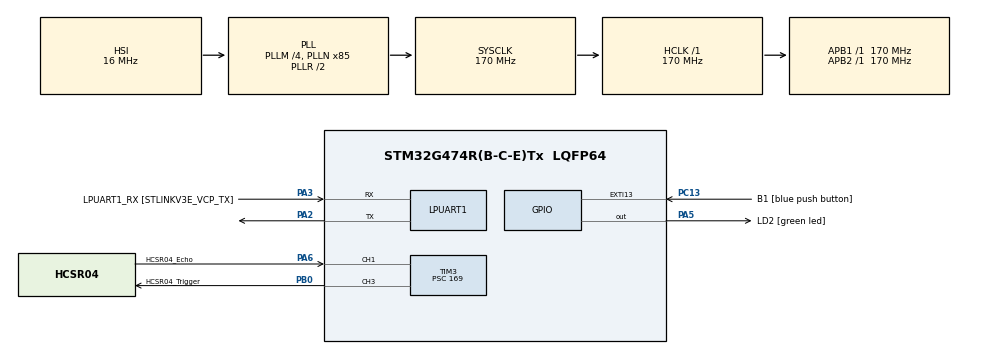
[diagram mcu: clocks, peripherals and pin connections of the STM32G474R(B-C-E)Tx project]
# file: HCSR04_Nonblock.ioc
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Mcu.Family=STM32G4
Mcu.Name=STM32G474R(B-C-E)Tx
Mcu.Package=LQFP64
NVIC.EXTI15_10_IRQn=true\:0\:0\:false\:false\:true\:true\:true\:true
NVIC.PriorityGroup=NVIC_PRIORITYGROUP_4
NVIC.TIM3_IRQn=true\:0\:0\:false\:false\:true\:true\:true\:true
PA13.GPIO_Label=T_SWDIO
PA13.Mode=Serial_Wire
PA13.Signal=SYS_JTMS-SWDIO
PA14.GPIO_Label=T_SWCLK
PA14.Mode=Serial_Wire
PA14.Signal=SYS_JTCK-SWCLK
PA2.Mode=Asynchronous
PA2.Signal=LPUART1_TX
PA3.GPIO_Label=LPUART1_RX [STLINKV3E_VCP_TX]
PA3.Mode=Asynchronous
PA3.Signal=LPUART1_RX
PA5.GPIO_Label=LD2 [green led]
PA5.Signal=GPIO_Output
PA6.GPIO_Label=HCSR04_Echo
PA6.Signal=S_TIM3_CH1
PB0.GPIO_Label=HCSR04_Trigger
PB0.Signal=S_TIM3_CH3
PB3.GPIO_Label=T_SWO
PB3.Signal=SYS_JTDO-SWO
PC13.GPIO_Label=B1 [blue push button]
PC13.Signal=GPXTI13
PC14-OSC32_IN.Mode=LSE-External-Oscillator
PC14-OSC32_IN.Signal=RCC_OSC32_IN
PC15-OSC32_OUT.GPIO_Label=RCC_OSC32_OUT
PC15-OSC32_OUT.Mode=LSE-External-Oscillator
PC15-OSC32_OUT.Signal=RCC_OSC32_OUT
PF0-OSC_IN.GPIO_Label=RCC_OSC_IN
PF0-OSC_IN.Mode=HSE-External-Oscillator
PF0-OSC_IN.Signal=RCC_OSC_IN
PF1-OSC_OUT.GPIO_Label=RCC_OSC_OUT
PF1-OSC_OUT.Mode=HSE-External-Oscillator
PF1-OSC_OUT.Signal=RCC_OSC_OUT
ProjectManager.HeapSize=0x200
ProjectManager.StackSize=0x400
ProjectManager.TargetToolchain=STM32CubeIDE
RCC.ADC12Freq_Value=170000000
RCC.ADC345Freq_Value=170000000
RCC.AHBFreq_Value=170000000
RCC.APB1Freq_Value=170000000
RCC.APB1TimFreq_Value=170000000
RCC.APB2Freq_Value=170000000
RCC.APB2TimFreq_Value=170000000
RCC.CortexFreq_Value=170000000
RCC.EXTERNAL_CLOCK_VALUE=12288000
RCC.HCLKFreq_Value=170000000
RCC.HSE_VALUE=24000000
RCC.HSI48_VALUE=48000000
RCC.HSI_VALUE=16000000
RCC.PLLM=RCC_PLLM_DIV4
RCC.PLLN=85
RCC.RTCClockSelection=RCC_RTCCLKSOURCE_LSE
RCC.SYSCLKFreq_VALUE=170000000
RCC.SYSCLKSource=RCC_SYSCLKSOURCE_PLLCLK
RCC.USBFreq_Value=170000000
RCC.VCOOutputFreq_Value=340000000
SH.S_TIM3_CH1.0=TIM3_CH1,Input_Capture1_from_TI1
SH.S_TIM3_CH3.0=TIM3_CH3,PWM Generation3 CH3
TIM3.Channel-Input_Capture1_from_TI1=TIM_CHANNEL_1
TIM3.Channel-Input_Capture2_from_TI1_63=TIM_CHANNEL_2
TIM3.Channel-PWM\ Generation3\ CH3=TIM_CHANNEL_3
TIM3.ICPolarity_CH2=TIM_INPUTCHANNELPOLARITY_FALLING
TIM3.Prescaler=169
TIM3.PulseNoDither_3=11
VP_SYS_VS_DBSignals.Mode=DisableDeadBatterySignals
VP_TIM3_VS_indirect_ch1.Mode=Input_Capture2_from_TI1_63
board=NUCLEO-G474RE

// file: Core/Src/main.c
/* USER CODE BEGIN Header */
/**
  ******************************************************************************
  * @file           : main.c
  * @brief          : Main program body
  ******************************************************************************
  * @attention
  *
  * Copyright (c) 2026 STMicroelectronics.
  * All rights reserved.
  *
  * This software is licensed under terms that can be found in the LICENSE file
  * in the root directory of this software component.
  * If no LICENSE file comes with this software, it is provided AS-IS.
  *
  ******************************************************************************
  */
/* USER CODE END Header */
#include "main.h"
#include "usart.h"
#include "tim.h"
#include "gpio.h"

/* USER CODE BEGIN Includes */

// HC-SR04 ultrasonic sensor driver
#include "hcsr04.h"

/* USER CODE END Includes */

/* USER CODE BEGIN PD */

/*
 * Definitions of timers and channels used for the HC-SR04 sensor
 *
 * The same timer (TIM3) is used for:
 * - generating the TRIGGER pulse
 * - measuring the ECHO pulse duration
 */

#define HCSR04_TRIGGER_TIMER		htim3
#define HCSR04_ECHO_TIMER			htim3
#define HCSR04_TRIGGER_CHANNEL		TIM_CHANNEL_3
#define HCSR04_ECHO_START_CHANNEL 	TIM_CHANNEL_1
#define HCSR04_ECHO_STOP_CHANNEL 	TIM_CHANNEL_2
/* USER CODE END PD */

/* USER CODE BEGIN PV */

/*
 * Structure storing HC-SR04 configuration
 */
HCSR04_t HCSR04;

/*
 * Variable storing measured distance in centimeters (float)
 */
float Distance_f;

/*
 * Variable storing measured distance in centimeters (integer)
 */
uint16_t Distance_u16;
/* USER CODE END PV */

void SystemClock_Config(void);

int main(void)
{

  /* MCU Configuration--------------------------------------------------------*/

  /* Reset of all peripherals, Initializes the Flash interface and the Systick. */
  HAL_Init();

  /* Configure the system clock */
  SystemClock_Config();

  /* Initialize all configured peripherals */
  MX_GPIO_Init();
  MX_LPUART1_UART_Init();
  MX_TIM3_Init();
  /* USER CODE BEGIN 2 */

  /*
   * Initialize HC-SR04 sensor
   * Parameters:
   * - pointer to sensor structure
   * - trigger timer
   * - echo timer
   * - trigger channel
   * - echo start channel
   * - echo stop channel
   */
  HCSR04_Init(&HCSR04, &HCSR04_TRIGGER_TIMER, HCSR04_TRIGGER_CHANNEL,
              &HCSR04_ECHO_TIMER, HCSR04_ECHO_START_CHANNEL, HCSR04_ECHO_STOP_CHANNEL);
  /* USER CODE END 2 */

  /* Infinite loop */
  /* USER CODE BEGIN WHILE */
  while (1)
  {
      /*
       * Read distance measured by the sensor
       * result stored in Distance_f (cm)
       */
	  HCSR04_CalculateResultFloat(&HCSR04, &Distance_f);

      /*
       * Small delay between measurements
       */
	  HAL_Delay(10);
    /* USER CODE END WHILE */

  }
}

void SystemClock_Config(void)
{
  RCC_OscInitTypeDef RCC_OscInitStruct = {0};
  RCC_ClkInitTypeDef RCC_ClkInitStruct = {0};

  /** Configure the main internal regulator output voltage
  */
  HAL_PWREx_ControlVoltageScaling(PWR_REGULATOR_VOLTAGE_SCALE1_BOOST);

  /** Initializes the RCC Oscillators according to the specified parameters
  * in the RCC_OscInitTypeDef structure.
  */
  RCC_OscInitStruct.OscillatorType = RCC_OSCILLATORTYPE_HSI;
  RCC_OscInitStruct.HSIState = RCC_HSI_ON;
  RCC_OscInitStruct.HSICalibrationValue = RCC_HSICALIBRATION_DEFAULT;
  RCC_OscInitStruct.PLL.PLLState = RCC_PLL_ON;
  RCC_OscInitStruct.PLL.PLLSource = RCC_PLLSOURCE_HSI;
  RCC_OscInitStruct.PLL.PLLM = RCC_PLLM_DIV4;
  RCC_OscInitStruct.PLL.PLLN = 85;
  RCC_OscInitStruct.PLL.PLLP = RCC_PLLP_DIV2;
  RCC_OscInitStruct.PLL.PLLQ = RCC_PLLQ_DIV2;
  RCC_OscInitStruct.PLL.PLLR = RCC_PLLR_DIV2;
  if (HAL_RCC_OscConfig(&RCC_OscInitStruct) != HAL_OK)
  {
    Error_Handler();
  }

  /** Initializes the CPU, AHB and APB buses clocks
  */
  RCC_ClkInitStruct.ClockType = RCC_CLOCKTYPE_HCLK|RCC_CLOCKTYPE_SYSCLK
                              |RCC_CLOCKTYPE_PCLK1|RCC_CLOCKTYPE_PCLK2;
  RCC_ClkInitStruct.SYSCLKSource = RCC_SYSCLKSOURCE_PLLCLK;
  RCC_ClkInitStruct.AHBCLKDivider = RCC_SYSCLK_DIV1;
  RCC_ClkInitStruct.APB1CLKDivider = RCC_HCLK_DIV1;
  RCC_ClkInitStruct.APB2CLKDivider = RCC_HCLK_DIV1;

  if (HAL_RCC_ClockConfig(&RCC_ClkInitStruct, FLASH_LATENCY_4) != HAL_OK)
  {
    Error_Handler();
  }
}

/* USER CODE BEGIN 4 */
void HAL_TIM_IC_CaptureCallback(TIM_HandleTypeDef *htim)
{
    /*
     * Check if interrupt comes from the timer used
     * for HC-SR04 echo measurement
     */
	if(htim == HCSR04.htim_echo)
	{
        /*
         * Call the sensor interrupt handler
         * which calculates echo pulse duration
         */
		HCSR04_InterruptHandler(&HCSR04);
	}
}
/* USER CODE END 4 */

void Error_Handler(void)
{
  __disable_irq();
  while (1)
  {
  }
}
